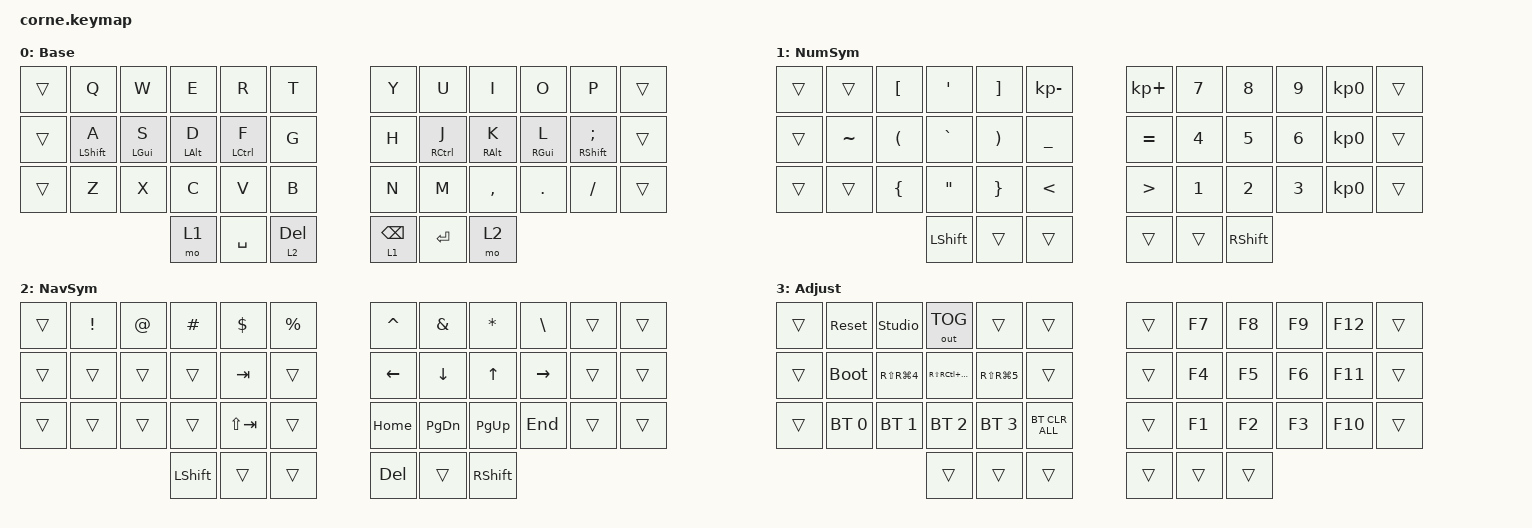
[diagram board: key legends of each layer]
#include <behaviors.dtsi>
#include <dt-bindings/zmk/bt.h>
#include <dt-bindings/zmk/keys.h>
#include <dt-bindings/zmk/outputs.h>

// Bindings use the 42-key Corne layout. The outer column on each side does
// not exist on the 36-key Corne Mini, so those slots are always &trans.

/ {
    combos {
        compatible = "zmk,combos";

        combo_esc {
            timeout-ms = <50>;
            key-positions = <1 2>;
            bindings = <&kp ESC>;
        };

        jk-esc {
            bindings = <&kp ESC>;
            key-positions = <19 20>;
        };
    };

    macros {
        gif: gif {
            compatible = "zmk,behavior-macro";
            #binding-cells = <0>;
            bindings =
                <&macro_press>,
                <&kp LSHFT>,
                <&macro_tap>,
                <&kp N2>,
                <&macro_release>,
                <&kp LSHFT>,
                <&macro_tap>,
                <&kp G &kp I &kp F>;
        };
    };

    behaviors {
        hrm_left: hrm_left {
            compatible = "zmk,behavior-hold-tap";
            bindings = <&kp>, <&kp>;

            #binding-cells = <2>;
            tapping-term-ms = <190>;
            quick-tap-ms = <200>;
            require-prior-idle-ms = <160>;
            flavor = "tap-preferred";
            hold-trigger-key-positions = <6 18 30 31 7 19 8 20 32 9 21 33 10 22 34 39 40 41 38 37 36 16 15 14 13>;
        };

        hrm_right: hrm_right {
            compatible = "zmk,behavior-hold-tap";
            bindings = <&kp>, <&kp>;

            #binding-cells = <2>;
            tapping-term-ms = <190>;
            quick-tap-ms = <200>;
            require-prior-idle-ms = <160>;
            flavor = "tap-preferred";
            hold-trigger-key-positions = <19 20 21 22 38 37 36 16 15 14 13 1 2 3 4 5 17 26 27 28 29 25 41 40 39>;
        };

        hrm_rshift: hrm_rshift {
            compatible = "zmk,behavior-hold-tap";
            bindings = <&kp>, <&kp>;

            #binding-cells = <2>;
            tapping-term-ms = <160>;
            quick-tap-ms = <200>;
            require-prior-idle-ms = <100>;
            flavor = "balanced";
            hold-trigger-key-positions = <6 18 30 31 7 19 8 20 32 9 21 33 10 22 34 39 40 41 38 37 36 16 15 14 13 5 29 17 28 4 3 27 2 26 1 25>;
        };

        lt_qt: lt_qt {
            compatible = "zmk,behavior-hold-tap";
            bindings = <&mo>, <&kp>;

            #binding-cells = <2>;
            tapping-term-ms = <160>;
            quick-tap-ms = <200>;
            require-prior-idle-ms = <100>;
            flavor = "tap-preferred";
            hold-trigger-key-positions = <6 18 30 31 7 19 8 20 32 9 21 33 10 22 34 39 40 41 38 37 36 16 15 14 13 5 29 17 28 4 3 27 2 26 1 25>;
        };

        hrm_lshift: hrm_lshift {
            compatible = "zmk,behavior-hold-tap";
            bindings = <&kp>, <&kp>;

            #binding-cells = <2>;
            tapping-term-ms = <160>;
            quick-tap-ms = <200>;
            require-prior-idle-ms = <100>;
            flavor = "balanced";
            hold-trigger-key-positions = <6 18 30 31 7 19 8 20 32 9 21 33 10 22 34 39 40 41 38 37 36 16 15 13 5 29 17 28 4 3 27 2 26 1 25 14>;
        };
    };

    keymap {
        compatible = "zmk,keymap";

        base_layer {
            display-name = "Base";
            bindings = <
&trans  &kp Q                 &kp W             &kp E             &kp R              &kp T           &kp Y               &kp U               &kp I              &kp O              &kp P                    &trans
&trans  &hrm_lshift LSHIFT A  &hrm_left LGUI S  &hrm_left LALT D  &hrm_left LCTRL F  &kp G           &kp H               &hrm_right RCTRL J  &hrm_right RALT K  &hrm_right RGUI L  &hrm_rshift RSHIFT SEMI  &trans
&trans  &kp Z                 &kp X             &kp C             &kp V              &kp B           &kp N               &kp M               &kp COMMA          &kp DOT            &kp SLASH                &trans
                                                &mo 1             &kp SPACE          &lt_qt 2 DEL    &lt_qt 1 BACKSPACE  &kp RETURN          &mo 2
            >;
        };

        num_sym {
            display-name = "NumSym";
            bindings = <
&trans  &trans     &kp LEFT_BRACKET  &kp SINGLE_QUOTE   &kp RIGHT_BRACKET      &kp KP_MINUS     &kp KP_PLUS       &kp N7        &kp N8        &kp N9        &kp KP_NUMBER_0  &trans
&trans  &kp TILDE  &kp LPAR          &kp GRAVE          &kp RIGHT_PARENTHESIS  &kp UNDER        &kp EQUAL         &kp NUMBER_4  &kp N5        &kp NUMBER_6  &kp KP_NUMBER_0  &trans
&trans  &trans     &kp LBRC          &kp DOUBLE_QUOTES  &kp RIGHT_BRACE        &kp LESS_THAN    &kp GREATER_THAN  &kp NUMBER_1  &kp NUMBER_2  &kp NUMBER_3  &kp KP_NUMBER_0  &trans
                                     &kp LSHIFT         &trans                 &trans           &trans            &trans        &kp RSHFT
            >;
        };

        nav_sym {
            display-name = "NavSym";
            bindings = <
&trans  &kp EXCL  &kp AT  &kp HASH   &kp DLLR     &kp PRCNT    &kp CARET  &kp AMPS       &kp ASTERISK  &kp BACKSLASH  &trans  &trans
&trans  &trans    &trans  &trans     &kp TAB      &trans       &kp LEFT   &kp DOWN       &kp UP_ARROW  &kp RIGHT      &trans  &trans
&trans  &trans    &trans  &trans     &kp LS(TAB)  &trans       &kp HOME   &kp PAGE_DOWN  &kp PG_UP     &kp END        &trans  &trans
                          &kp LSHFT  &trans       &trans       &kp DEL    &trans         &kp RSHFT
            >;
        };

        adjust_layer {
            display-name = "Adjust";
            bindings = <
&trans  &sys_reset    &studio_unlock        &out OUT_TOG              &trans          &trans          &trans  &kp F7  &kp F8  &kp F9  &kp F12  &trans
&trans  &bootloader   &kp RS(RG(NUMBER_4))  &kp RS(RC(RG(NUMBER_4)))  &kp RS(RG(N5))  &trans          &trans  &kp F4  &kp F5  &kp F6  &kp F11  &trans
&trans  &bt BT_SEL 0  &bt BT_SEL 1          &bt BT_SEL 2              &bt BT_SEL 3    &bt BT_CLR_ALL  &trans  &kp F1  &kp F2  &kp F3  &kp F10  &trans
                                            &trans                    &trans          &trans          &trans  &trans  &trans
            >;
        };
    };

    conditional_layers {
        compatible = "zmk,conditional-layers";

        adjust {
            if-layers = <1 2>;
            then-layer = <3>;
        };
    };
};
